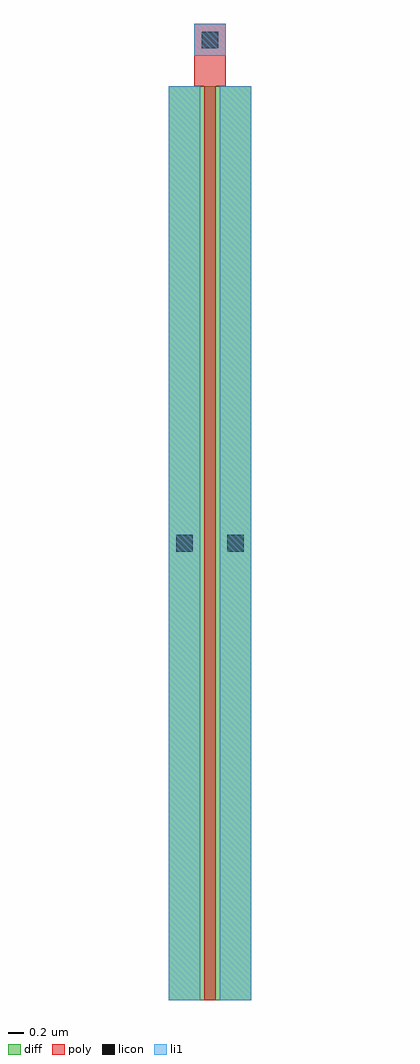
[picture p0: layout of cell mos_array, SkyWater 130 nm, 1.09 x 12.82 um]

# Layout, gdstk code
import gdstk
lib = gdstk.Library(unit=1e-6, precision=1e-09)
def R(c, l, rs):  # rectangles x0, y0, x1, y1
    for r in rs: c.add(gdstk.rectangle(r[:2], r[2:], *l))
diff = (65, 20)
poly = (66, 20)
licon = (66, 44)
li1 = (67, 20)

mos_array = lib.new_cell('mos_array')
R(mos_array, diff, [(0,0,1.09,12)])
R(mos_array, poly, [(0.47,0,0.62,12), (0.335,12,0.755,12.82)])
R(mos_array, licon, [(0.1,5.89,0.32,6.11), (0.77,5.89,0.99,6.11), (0.435,12.5,0.655,12.72)])
R(mos_array, li1, [(0,0,0.42,12), (0.67,0,1.09,12), (0.335,12.4,0.755,12.82)])

lib.write_gds('mos_array.gds')
